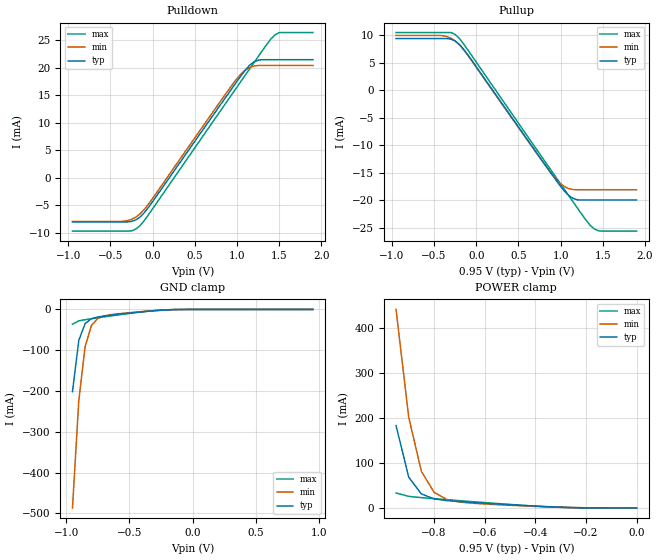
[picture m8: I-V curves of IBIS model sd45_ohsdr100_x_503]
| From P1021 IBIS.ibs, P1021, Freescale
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[Model]   sd45_ohsdr100_x_503
Model_type 3-state
Enable Active-High
Polarity Non-Inverting
|   TYP   MIN   MAX
C_comp   1.60pF   1.60pF   1.67pF
[Model Spec]
Vmeas   0.475   0.425   0.605
[Voltage Range]   0.95   0.85   1.21
[Temperature Range] 65   125   -40
[Driver Schedule]
| Model_Name  Rise_on_dly   Rise_off_dly   Fall_on_dly   Fall_off_dly
sd45_ohsdr100_x_50   0ps   NA   0ps   NA
sd45_ohsdr100_x_53  333.33ps   NA  333.33ps   NA
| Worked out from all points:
|   slope of the pulldown table from 0 to 0.142 V, typ, clamps not added: 45.7 ohm
|   slope of the pullup table from 0 to 0.142 V, typ, clamps not added: 45.5 ohm
|   GND clamp passes 1 mA (typ) near -0.19 V on its own axis
|   POWER clamp passes 1 mA (typ) near -0.25 V on its own axis
[Pullup]
|   Vout(V)   TYP   WCS   BCS
-950mV    9.394mA    9.972mA    10.49mA
-400mV    9.394mA    9.921mA    10.49mA
-250mV    8.951mA    8.974mA    10.15mA
-100mV    6.461mA    6.356mA    7.34mA
800mV     -13.2mA    -13.28mA   -12.64mA
1V        -17.5mA    -17.05mA   -17.05mA
1.1V      -19.21mA   -17.92mA   -19.26mA
1.15V     -19.7mA    -18.08mA   -20.36mA
1.3V      -19.98mA   -18.11mA   -23.62mA
1.4V      -19.98mA   -18.11mA   -25.24mA
1.5V      -19.98mA   -18.11mA   -25.64mA
1.9V      -19.98mA   -18.11mA   -25.64mA
[Pulldown]
|   Vout(V)   TYP   WCS   BCS
-950mV    -8.027mA   -7.945mA   -9.693mA
-350mV    -8.027mA   -7.908mA   -9.693mA
-250mV    -7.938mA   -7.555mA   -9.642mA
-150mV    -7.144mA   -6.573mA   -8.705mA
0V        -4.323mA   -3.744mA   -5.622mA
950mV     16.44mA    17.03mA    15.39mA
1.1V      19.6mA     19.57mA    18.69mA
1.2V      21.04mA    20.28mA    20.89mA
1.25V     21.36mA    20.39mA    21.99mA
1.45V     21.44mA    20.39mA    25.96mA
1.5V      21.44mA    20.39mA    26.36mA
1.9V      21.44mA    20.39mA    26.38mA
[GND Clamp]
|   Vout(V)   TYP   WCS   BCS
-950mV    -201.6mA   -486.5mA   -36.16mA
-900mV    -75.75mA   -222.9mA   -28.05mA
-850mV    -34.66mA   -90.59mA   -25.11mA
-800mV    -22.71mA   -39.37mA   -22.78mA
-750mV    -18.57mA   -21.91mA   -20.52mA
-700mV    -16.25mA   -15.71mA   -18.29mA
-650mV    -14.32mA   -12.88mA   -16.07mA
-400mV    -5.858mA   -5.175mA   -5.911mA
-200mV    -1.108mA   -1.072mA   -756.7uA
950mV     70.01uA    122.9uA    16.34uA
[POWER Clamp]
|   Vout(V)   TYP   WCS   BCS
-950mV    183.5mA    442.2mA    33.42mA
-900mV    68.86mA    202.2mA    25.88mA
-850mV    31.34mA    81.75mA    23.04mA
-800mV    20.35mA    35.06mA    20.76mA
-750mV    16.45mA    19.08mA    18.55mA
-700mV    14.21mA    13.35mA    16.36mA
-650mV    12.35mA    10.71mA    14.18mA
-300mV    1.805mA    1.559mA    1.409mA
0V        0A         0A         0A
[Ramp]
R_load=50.00
dV/dt_r  1.7449e-01/6.4215e-11  1.5361e-01/6.5528e-11  2.2871e-01/6.5586e-11
dV/dt_f  1.7449e-01/6.5823e-11  1.5361e-01/6.7896e-11  2.2872e-01/6.6497e-11
